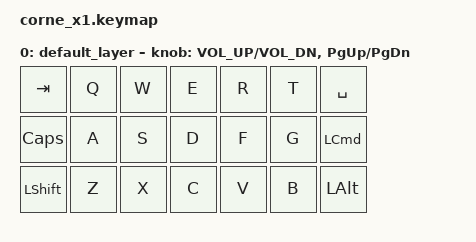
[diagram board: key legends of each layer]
#include <behaviors.dtsi>
#include <dt-bindings/zmk/keys.h>

/ {
    keymap {
        compatible = "zmk,keymap";

        default_layer {
            // ---------------------------------------------------------
            // |  TAB   |   Q   |   W   |   E   |   R   |   T   | SPACE  |
            // |  CAPS  |   A   |   S   |   D   |   F   |   G   |  CMD   |
            // | LSHIFT |   Z   |   X   |   C   |   V   |   B   | OPTION |

            bindings = <
                &kp TAB    &kp Q     &kp W    &kp E     &kp R     &kp T     &kp SPACE
                &kp CAPS   &kp A     &kp S    &kp D     &kp F     &kp G     &kp LCMD
                &kp LSHFT  &kp Z     &kp X    &kp C     &kp V     &kp B     &kp LALT
            >;

            sensor-bindings = <&inc_dec_kp C_VOL_UP C_VOL_DN &inc_dec_kp PG_UP PG_DN>;
        };
    };
};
